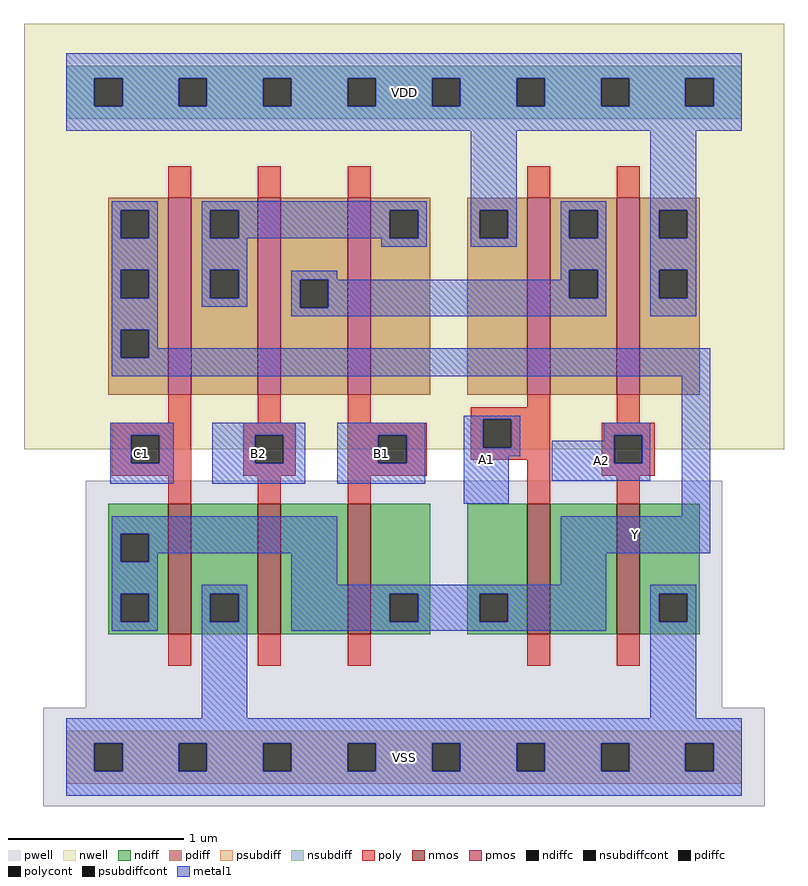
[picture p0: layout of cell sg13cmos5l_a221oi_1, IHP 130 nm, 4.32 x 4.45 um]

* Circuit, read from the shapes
.subckt sg13cmos5l_a221oi_1 C1 Y B2 B1 A2 VDD A1 VSS
XM1 VSS C1 Y VSS sg13_lv_nmos w=0.74u l=0.13u
XM2 n1 B2 VSS VSS sg13_lv_nmos w=0.74u l=0.13u
XM3 Y B1 n1 VSS sg13_lv_nmos w=0.74u l=0.13u
XM4 n2 A1 Y VSS sg13_lv_nmos w=0.74u l=0.13u
XM5 VSS A2 n2 VSS sg13_lv_nmos w=0.74u l=0.13u
XM6 n3 C1 Y VDD sg13_lv_pmos w=1.12u l=0.13u
XM7 n4 B2 n3 VDD sg13_lv_pmos w=1.12u l=0.13u
XM8 n3 B1 n4 VDD sg13_lv_pmos w=1.12u l=0.13u
XM9 n4 A1 VDD VDD sg13_lv_pmos w=1.12u l=0.13u
XM10 VDD A2 n4 VDD sg13_lv_pmos w=1.12u l=0.13u
.ends

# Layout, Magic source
magic
tech ihp-sg13cmos5l
magscale 1 2
<< nwell >>
rect -48 350 816 834
<< pwell >>
rect 22 56 746 314
rect -26 -56 794 56
<< nmos >>
rect 116 140 142 288
rect 218 140 244 288
rect 320 140 346 288
rect 524 140 550 288
rect 626 140 652 288
<< pmos >>
rect 116 412 142 636
rect 218 412 244 636
rect 320 412 346 636
rect 524 412 550 636
rect 626 412 652 636
<< ndiff >>
rect 48 254 116 288
rect 48 222 62 254
rect 94 222 116 254
rect 48 186 116 222
rect 48 154 62 186
rect 94 154 116 186
rect 48 140 116 154
rect 142 186 218 288
rect 142 154 164 186
rect 196 154 218 186
rect 142 140 218 154
rect 244 140 320 288
rect 346 186 414 288
rect 346 154 368 186
rect 400 154 414 186
rect 346 140 414 154
rect 456 186 524 288
rect 456 154 470 186
rect 502 154 524 186
rect 456 140 524 154
rect 550 140 626 288
rect 652 186 720 288
rect 652 154 674 186
rect 706 154 720 186
rect 652 140 720 154
<< pdiff >>
rect 48 622 116 636
rect 48 590 62 622
rect 94 590 116 622
rect 48 554 116 590
rect 48 522 62 554
rect 94 522 116 554
rect 48 486 116 522
rect 48 454 62 486
rect 94 454 116 486
rect 48 412 116 454
rect 142 622 218 636
rect 142 590 164 622
rect 196 590 218 622
rect 142 554 218 590
rect 142 522 164 554
rect 196 522 218 554
rect 142 412 218 522
rect 244 543 320 636
rect 244 511 266 543
rect 298 511 320 543
rect 244 412 320 511
rect 346 622 414 636
rect 346 590 368 622
rect 400 590 414 622
rect 346 412 414 590
rect 456 622 524 636
rect 456 590 470 622
rect 502 590 524 622
rect 456 412 524 590
rect 550 622 626 636
rect 550 590 572 622
rect 604 590 626 622
rect 550 554 626 590
rect 550 522 572 554
rect 604 522 626 554
rect 550 412 626 522
rect 652 622 720 636
rect 652 590 674 622
rect 706 590 720 622
rect 652 554 720 590
rect 652 522 674 554
rect 706 522 720 554
rect 652 412 720 522
<< ndiffc >>
rect 62 222 94 254
rect 62 154 94 186
rect 164 154 196 186
rect 368 154 400 186
rect 470 154 502 186
rect 674 154 706 186
<< pdiffc >>
rect 62 590 94 622
rect 62 522 94 554
rect 62 454 94 486
rect 164 590 196 622
rect 164 522 196 554
rect 266 511 298 543
rect 368 590 400 622
rect 470 590 502 622
rect 572 590 604 622
rect 572 522 604 554
rect 674 590 706 622
rect 674 522 706 554
<< psubdiff >>
rect 0 16 768 30
rect 0 -16 32 16
rect 64 -16 128 16
rect 160 -16 224 16
rect 256 -16 320 16
rect 352 -16 416 16
rect 448 -16 512 16
rect 544 -16 608 16
rect 640 -16 704 16
rect 736 -16 768 16
rect 0 -30 768 -16
<< nsubdiff >>
rect 0 772 768 786
rect 0 740 32 772
rect 64 740 128 772
rect 160 740 224 772
rect 256 740 320 772
rect 352 740 416 772
rect 448 740 512 772
rect 544 740 608 772
rect 640 740 704 772
rect 736 740 768 772
rect 0 726 768 740
<< psubdiffcont >>
rect 32 -16 64 16
rect 128 -16 160 16
rect 224 -16 256 16
rect 320 -16 352 16
rect 416 -16 448 16
rect 512 -16 544 16
rect 608 -16 640 16
rect 704 -16 736 16
<< nsubdiffcont >>
rect 32 740 64 772
rect 128 740 160 772
rect 224 740 256 772
rect 320 740 352 772
rect 416 740 448 772
rect 512 740 544 772
rect 608 740 640 772
rect 704 740 736 772
<< poly >>
rect 116 636 142 672
rect 218 636 244 672
rect 320 636 346 672
rect 524 636 550 672
rect 626 636 652 672
rect 116 380 142 412
rect 218 380 244 412
rect 320 380 346 412
rect 524 398 550 412
rect 460 384 550 398
rect 52 366 142 380
rect 52 334 74 366
rect 106 334 142 366
rect 52 320 142 334
rect 201 366 261 380
rect 201 334 215 366
rect 247 334 261 366
rect 201 320 261 334
rect 320 366 410 380
rect 320 334 355 366
rect 387 334 410 366
rect 460 352 474 384
rect 506 352 550 384
rect 626 380 652 412
rect 460 338 550 352
rect 320 320 410 334
rect 116 288 142 320
rect 218 288 244 320
rect 320 288 346 320
rect 524 288 550 338
rect 609 366 669 380
rect 609 334 623 366
rect 655 334 669 366
rect 609 320 669 334
rect 626 288 652 320
rect 116 104 142 140
rect 218 104 244 140
rect 320 104 346 140
rect 524 104 550 140
rect 626 104 652 140
<< polycont >>
rect 74 334 106 366
rect 215 334 247 366
rect 355 334 387 366
rect 474 352 506 384
rect 623 334 655 366
<< metal1 >>
rect 0 772 768 800
rect 0 740 32 772
rect 64 740 128 772
rect 160 740 224 772
rect 256 740 320 772
rect 352 740 416 772
rect 448 740 512 772
rect 544 740 608 772
rect 640 740 704 772
rect 736 740 768 772
rect 0 712 768 740
rect 52 622 104 632
rect 52 590 62 622
rect 94 590 104 622
rect 52 554 104 590
rect 52 522 62 554
rect 94 522 104 554
rect 52 486 104 522
rect 154 622 410 632
rect 154 590 164 622
rect 196 590 368 622
rect 400 590 410 622
rect 154 554 206 590
rect 358 580 410 590
rect 460 622 512 712
rect 460 590 470 622
rect 502 590 512 622
rect 460 580 512 590
rect 562 622 614 632
rect 562 590 572 622
rect 604 590 614 622
rect 154 522 164 554
rect 196 522 206 554
rect 562 554 614 590
rect 154 512 206 522
rect 256 543 308 553
rect 562 543 572 554
rect 256 511 266 543
rect 298 522 572 543
rect 604 522 614 554
rect 298 511 614 522
rect 256 501 614 511
rect 664 622 716 712
rect 664 590 674 622
rect 706 590 716 622
rect 664 554 716 590
rect 664 522 674 554
rect 706 522 716 554
rect 664 501 716 522
rect 52 454 62 486
rect 94 465 104 486
rect 94 454 732 465
rect 52 433 732 454
rect 452 384 516 388
rect 50 366 122 380
rect 50 334 74 366
rect 106 334 122 366
rect 50 311 122 334
rect 166 366 272 380
rect 166 334 215 366
rect 247 334 272 366
rect 166 311 272 334
rect 308 366 408 380
rect 308 334 355 366
rect 387 334 408 366
rect 308 311 408 334
rect 452 352 474 384
rect 506 352 516 384
rect 611 366 664 380
rect 611 360 623 366
rect 452 342 516 352
rect 452 288 503 342
rect 552 334 623 360
rect 655 334 664 366
rect 552 314 664 334
rect 700 274 732 433
rect 52 254 308 274
rect 52 222 62 254
rect 94 232 308 254
rect 94 222 104 232
rect 52 186 104 222
rect 256 196 308 232
rect 562 232 732 274
rect 562 196 614 232
rect 52 154 62 186
rect 94 154 104 186
rect 52 144 104 154
rect 154 186 206 196
rect 154 154 164 186
rect 196 154 206 186
rect 154 44 206 154
rect 256 186 614 196
rect 256 154 368 186
rect 400 154 470 186
rect 502 154 614 186
rect 256 144 614 154
rect 664 186 716 196
rect 664 154 674 186
rect 706 154 716 186
rect 664 44 716 154
rect 0 16 768 44
rect 0 -16 32 16
rect 64 -16 128 16
rect 160 -16 224 16
rect 256 -16 320 16
rect 352 -16 416 16
rect 448 -16 512 16
rect 544 -16 608 16
rect 640 -16 704 16
rect 736 -16 768 16
rect 0 -44 768 -16
<< labels >>
flabel metal1 s 50 311 122 380 0 FreeSans 400 0 0 0 C1
port 2 nsew
flabel metal1 s 562 232 732 274 0 FreeSans 400 0 0 0 Y
port 3 nsew
flabel metal1 s 166 311 272 380 0 FreeSans 400 0 0 0 B2
port 4 nsew
flabel metal1 s 308 311 408 380 0 FreeSans 400 0 0 0 B1
port 5 nsew
flabel metal1 s 552 314 664 360 0 FreeSans 400 0 0 0 A2
port 6 nsew
flabel metal1 s 0 712 768 800 0 FreeSans 400 0 0 0 VDD
port 7 nsew
flabel metal1 s 452 288 503 388 0 FreeSans 400 0 0 0 A1
port 8 nsew
flabel metal1 s 0 -44 768 44 0 FreeSans 400 0 0 0 VSS
port 9 nsew
<< properties >>
string FIXED_BBOX 0 0 768 756
string GDS_END 88682
string GDS_FILE pll_digital.gds
string GDS_START 82970
<< end >>
